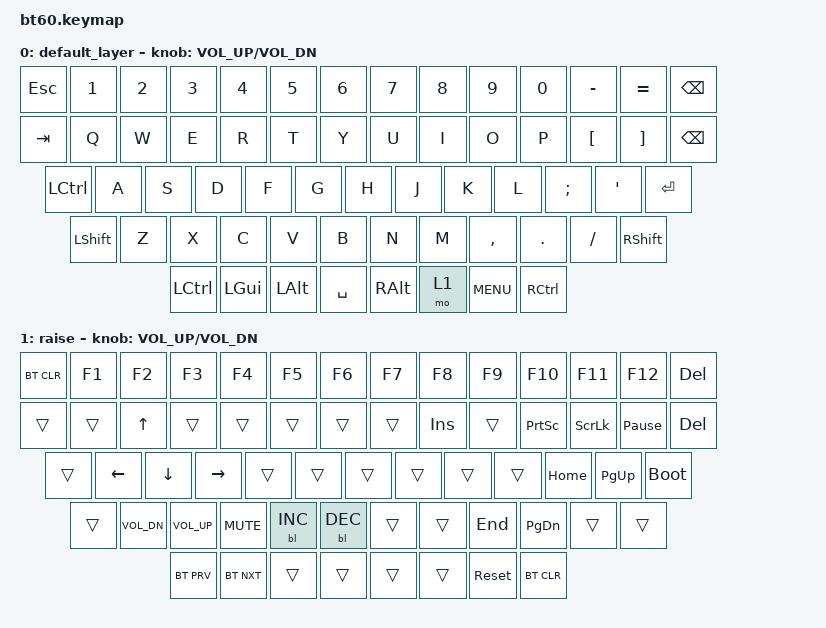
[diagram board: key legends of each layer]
#include <behaviors.dtsi>
#include <dt-bindings/zmk/keys.h>
#include <dt-bindings/zmk/bt.h>
#include <dt-bindings/zmk/rgb.h>
#include <dt-bindings/zmk/backlight.h>

&kscan0 {
    debounce-press-ms = <15>;
    debounce-release-ms = <5>;
};

/ {
	keymap {
		compatible = "zmk,keymap";

		default_layer {
				// ------------------------------------------------------------------------------------------
				// |  `  |  1  |  2  |  3  |  4  |  5  |  6  |  7  |  8  |  9  |  0  |  -  |  =  |   BKSP
				// | TAB  |  Q  |  W  |  E  |  R  |  T  |  Y  |  U  |  I  |  O  |  P  |  [  |  ]  |   |
				// | CTL  |  A  |  S  |  D  |  F  |  G  |  H  |  J  |  K  |  L  |  ;  |  '  |     ENTER
				// |  SHIFT    |  Z  |  X  |  C  |  V  |  B  |  N  |  M  |  ,  |  .  | /   |      SHIFT
				// |  CTL  |  WIN  |  ALT  |            SPACE               | ALT | 1    |  MENU    |  CTRL
				// ------------------------------------------------------------------------------------------
			bindings = <

				&kp ESC &kp N1 &kp N2 &kp N3 &kp N4 &kp N5 &kp N6 &kp N7 &kp  N8   &kp  N9 &kp  N0  &kp MINUS &kp EQUAL &kp BSPC
				&kp TAB  &kp Q  &kp W  &kp E  &kp R  &kp T  &kp Y  &kp U  &kp  I    &kp  O  &kp  P   &kp LBKT &kp RBKT   &kp BSPC
				&kp LCTRL  &kp A  &kp S  &kp D  &kp F  &kp G  &kp H  &kp J  &kp  K    &kp  L  &kp SEMI &kp SQT            &kp RET
				&kp LSHFT  &kp Z  &kp X  &kp C  &kp V  &kp B  &kp N  &kp M  &kp COMMA &kp DOT &kp FSLH                   &kp RSHFT
				&kp LCTRL &kp LGUI &kp LALT            &kp SPACE                          &kp RALT  &mo 1 &kp C_MENU    &kp RCTRL
			>;
			sensor-bindings = <&inc_dec_kp C_VOL_UP C_VOL_DN>;
		};
		raise {
			bindings = <
				&bt BT_CLR &kp F1 &kp F2 &kp F3 &kp F4 &kp F5 &kp F6 &kp F7 &kp F8 &kp F9 &kp F10 &kp F11 &kp F12 &kp DEL
				&trans &trans &kp UP &trans &trans &trans &trans &trans &kp INS &trans &kp PSCRN &kp SLCK &kp PAUSE_BREAK &kp DEL
				&trans &kp LEFT &kp DOWN &kp RIGHT &trans &trans &trans &trans &trans &trans &kp HOME  &kp PG_UP   &bootloader
				&trans &kp C_VOL_DN &kp C_VOL_UP &kp C_MUTE &bl BL_INC &bl BL_DEC &trans &trans &kp END &kp PG_DN  &trans &trans
				&bt BT_PRV &bt BT_NXT  &trans              &trans                            &trans   &trans   &sys_reset &bt BT_CLR
			>;
			sensor-bindings = <&inc_dec_kp C_VOL_UP C_VOL_DN>;
		};
	};
};
